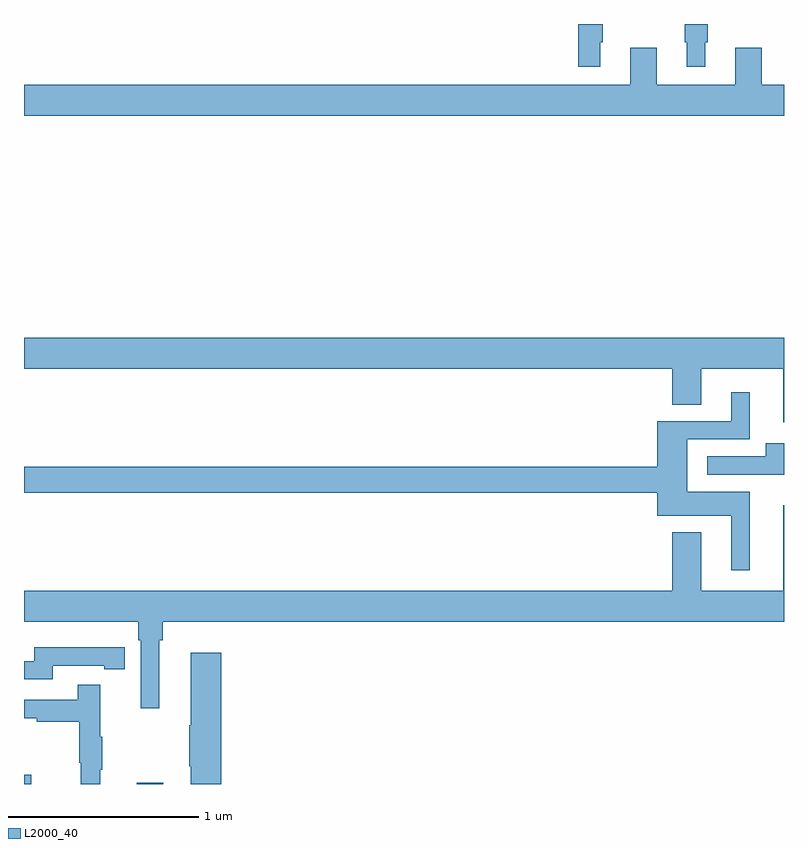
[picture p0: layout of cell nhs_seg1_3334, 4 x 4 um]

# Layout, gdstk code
import gdstk
lib = gdstk.Library(unit=1e-6, precision=1e-09)
def R(c, l, rs):  # rectangles x0, y0, x1, y1
    for r in rs: c.add(gdstk.rectangle(r[:2], r[2:], *l))
def P(c, l, *ps):  # polygons
    for p in ps: c.add(gdstk.Polygon(p, *l))
L2000_40 = (2000, 40)

nhs_seg1_3334 = lib.new_cell('nhs_seg1_3334')
R(nhs_seg1_3334, L2000_40, [(291,564.199,291.037,564.247), (291.593,564.199,291.733,564.205)])
P(nhs_seg1_3334, L2000_40, [(294.034,568.103),(294.046,568.103),(294.046,568.199),(293.917,568.199),(293.917,567.975),(294.034,567.975)],
  [(294.586,568.103),(294.598,568.103),(294.598,568.199),(294.477,568.199),(294.477,568.103),(294.488,568.103),(294.488,567.975),(294.586,567.975)],
  [(295,567.88),(294.883,567.88),(294.883,568.075),(294.743,568.075),(294.743,567.88),(294.331,567.88),(294.331,568.075),(294.191,568.075),(294.191,567.88),(291,567.88),(291,567.716),(295,567.716)],
  [(295,566.548),(291,566.548),(291,566.384),(294.413,566.384),(294.413,566.194),(294.565,566.194),(294.565,566.384),(294.995,566.384),(294.995,566.103),(295,566.103)],
  [(294.82,565.738),(294.49,565.738),(294.49,566.013),(294.82,566.013),(294.82,566.26),(294.722,566.26),(294.722,566.109),(294.332,566.109),(294.332,565.868),(291,565.868),(291,565.732),(294.332,565.732),(294.332,565.61),(294.722,565.61),(294.722,565.323),(294.82,565.323)],
  [(295,565.992),(294.905,565.992),(294.905,565.923),(294.597,565.923),(294.597,565.827),(294.909,565.827),(294.909,565.826),(295,565.826)],
  [(291.712,564.956),(291.731,564.956),(291.731,565.052),(295,565.052),(295,565.666),(294.995,565.666),(294.995,565.216),(294.565,565.216),(294.565,565.525),(294.413,565.525),(294.413,565.216),(291,565.216),(291,565.052),(291.602,565.052),(291.602,564.956),(291.615,564.956),(291.615,564.597),(291.712,564.597)],
  [(291.15,564.822),(291.422,564.822),(291.422,564.802),(291.53,564.802),(291.53,564.918),(291.422,564.918),(291.422,564.919),(291.054,564.919),(291.054,564.846),(291,564.846),(291,564.75),(291.15,564.75)],
  [(292.037,564.889),(291.878,564.889),(291.878,564.509),(291.871,564.509),(291.871,564.292),(291.878,564.292),(291.878,564.199),(292.037,564.199)],
  [(291.401,564.275),(291.412,564.275),(291.412,564.449),(291.401,564.449),(291.401,564.721),(291.283,564.721),(291.283,564.642),(291,564.642),(291,564.546),(291.067,564.546),(291.067,564.526),(291.291,564.526),(291.291,564.312),(291.298,564.312),(291.298,564.199),(291.401,564.199)])

lib.write_gds('nhs_seg1_3334.gds')
